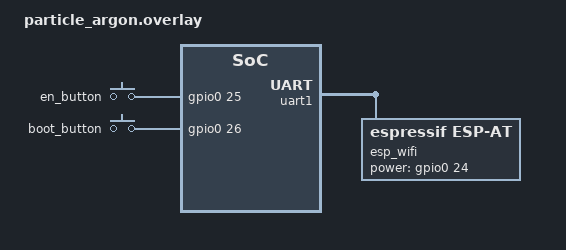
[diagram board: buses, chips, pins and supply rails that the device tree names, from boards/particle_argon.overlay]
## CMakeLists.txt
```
# SPDX-License-Identifier: Apache-2.0

cmake_minimum_required(VERSION 3.20.0)

find_package(Zephyr REQUIRED HINTS $ENV{ZEPHYR_BASE})
project(zephyr_flasher)

zephyr_compile_definitions_ifdef(CONFIG_SERIAL_FLASHER_MD5_ENABLED MD5_ENABLED)

zephyr_library_sources(
  common/example_common.c
  )

zephyr_library_include_directories(
  common
  binaries
  )

# Needed for example_common
add_compile_definitions(SERIAL_FLASHER_INTERFACE_UART)

# Embed binaries into the app.
include(${CMAKE_CURRENT_LIST_DIR}/common/bin2array.cmake)
create_resources(${CMAKE_CURRENT_LIST_DIR}/binaries/Hello-world ${CMAKE_BINARY_DIR}/binaries.c)
set_property(SOURCE ${CMAKE_BINARY_DIR}/binaries.c PROPERTY GENERATED 1)

target_sources(app PRIVATE src/main.c  ${CMAKE_BINARY_DIR}/binaries.c)

if(DEFINED SERIAL_FLASHER_DEBUG_TRACE OR CONFIG_SERIAL_FLASHER_DEBUG_TRACE)
    target_compile_definitions(esp_flasher INTERFACE SERIAL_FLASHER_DEBUG_TRACE=1)
 endif()
```

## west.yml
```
manifest:
  projects:
    - name: zephyr
      revision: v4.0.0
      url: https://github.com/zephyrproject-rtos/zephyr
      west-commands: scripts/west-commands.yml
      import:
        path-prefix: deps
        name-allowlist:
          - cmsis
          - hal_nordic
    - name: esp-flasher
      url: https://github.com/espressif/esp-serial-flasher
      revision: master
      path: deps/modules/lib/esp_flasher
  self:
    path: app
```

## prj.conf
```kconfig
CONFIG_CONSOLE=y
CONFIG_CONSOLE_GETCHAR=y
CONFIG_NEWLIB_LIBC=y
CONFIG_SERIAL_FLASHER_DEBUG_TRACE=y
```

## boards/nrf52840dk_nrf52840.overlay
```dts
/ {
	aliases {
		en = &en_pin;
		boot = &boot_pin;
		uart = &uart1;
	};

	leds {
		compatible = "gpio-leds";
		en_pin: en_pin {
			gpios = <&gpio0 24 GPIO_ACTIVE_HIGH>;
		};
		boot_pin: boot_pin {
			gpios = <&gpio0 16 GPIO_ACTIVE_HIGH>;
		};
	};
};

&pinctrl {
	uart1_example: uart1_example {
		group1 {
			psels = <NRF_PSEL(UART_TX, 1, 5)>,
							<NRF_PSEL(UART_RX, 1, 4)>;
		};
	};
};

&uart1 {
	status = "okay";
	pinctrl-0 = <&uart1_example>;
};
```

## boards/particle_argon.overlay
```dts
/ {
	aliases {
		en = &en_button;
		boot = &boot_button;
		uart = &uart1;
	};

  gpio_keys {
		compatible = "gpio-keys";
		en_button: en_button {
			gpios = <&gpio0 25 (GPIO_PULL_UP | GPIO_ACTIVE_HIGH)>;
		};
		boot_button: boot_button {
			gpios = <&gpio0 26 (GPIO_PULL_UP | GPIO_ACTIVE_HIGH)>;
		};
	};
};

&uart1_default {
	cts-rts {
		psels = <NRF_PSEL(UART_CTS, 1, 6)>,
			    <NRF_PSEL(UART_RTS, 1, 7)>;
	};
};

&uart1_sleep {
	cts-rts {
		psels = <NRF_PSEL(UART_CTS, 1, 6)>,
			    <NRF_PSEL(UART_RTS, 1, 7)>;
		low-power-enable;
	};
};

&uart1 {
	status = "okay";
	hw-flow-control;

	esp_wifi: esp-wifi {
		compatible = "espressif,esp-at";
		power-gpios = <&gpio0 24 (GPIO_ACTIVE_HIGH | GPIO_OPEN_DRAIN)>;
		status = "okay";
	};
};

&pinctrl {
    uart1_default: uart1_default {
		group1 {
			psels = <NRF_PSEL(UART_TX, 1, 5)>,
				    <NRF_PSEL(UART_RX, 1, 4)>;
		};
	};

	uart1_sleep: uart1_sleep {
		group1 {
			psels = <NRF_PSEL(UART_TX, 1, 5)>,
				    <NRF_PSEL(UART_RX, 1, 4)>;
			low-power-enable;
		};
	};
};
```

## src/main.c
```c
/*
 * ESP Flasher Library Example for Zephyr
 * Written in 2022 by KT-Elektronik, Klaucke und Partner GmbH
 * This example code is in the Public Domain (or CC0 licensed, at your option.)
 * Unless required by applicable law or agreed to in writing, this
 * software is distributed on an "AS IS" BASIS, WITHOUT WARRANTIES OR
 * CONDITIONS OF ANY KIND, either express or implied.
 *
 * Copyright (c) 2023 Espressif Systems (Shanghai) Co., Ltd.
 */

#include <zephyr/kernel.h>
#include <zephyr/device.h>
#include <zephyr/devicetree.h>
#include <zephyr/drivers/gpio.h>
#include <zephyr/sys/util.h>

#include <stdio.h>
#include <string.h>
#include <zephyr_port.h>
#include <esp_loader.h>
#include "example_common.h"

#define HIGHER_BAUDRATE 230400
#define DEFAULT_BAUDRATE 115200

/* Get UART DTS entry used as flash interface */
static const struct device *esp_uart_dev = DEVICE_DT_GET(DT_ALIAS(uart));
/* Get GPIO pin connected to the ESP's enable pin. */
static const struct gpio_dt_spec esp_enable_spec = GPIO_DT_SPEC_GET(DT_ALIAS(en), gpios);
/* Get GPIO pin  connected to the ESP's boot pin. */
static const struct gpio_dt_spec esp_boot_spec = GPIO_DT_SPEC_GET(DT_ALIAS(boot), gpios);

int main(void)
{
    example_binaries_t bin;

    const loader_zephyr_config_t config = {
        .uart_dev = esp_uart_dev,
        .enable_spec = esp_enable_spec,
        .boot_spec = esp_boot_spec
    };

    printk("Running ESP Flasher from Zephyr\r\n");

    if (!device_is_ready(esp_uart_dev)) {
        printk("ESP UART not ready");
        return -ENODEV;
    }

    if (!device_is_ready(esp_boot_spec.port)) {
        printk("ESP boot GPIO not ready");
        return -ENODEV;
    }

    if (!device_is_ready(esp_enable_spec.port)) {
        printk("ESP enable GPIO not ready");
        return -ENODEV;
    }

    gpio_pin_configure_dt(&esp_boot_spec, GPIO_OUTPUT_ACTIVE);
    gpio_pin_configure_dt(&esp_enable_spec, GPIO_OUTPUT_INACTIVE);

    if (loader_port_zephyr_init(&config) != ESP_LOADER_SUCCESS) {
        printk("ESP loader init failed");
        return -EIO;
    }

    if (connect_to_target(HIGHER_BAUDRATE) == ESP_LOADER_SUCCESS) {

        get_example_binaries(esp_loader_get_target(), &bin);

        flash_binary(bin.boot.data, bin.boot.size, bin.boot.addr);
        flash_binary(bin.part.data, bin.part.size, bin.part.addr);
        flash_binary(bin.app.data,  bin.app.size,  bin.app.addr);
    }

    esp_loader_reset_target();

    return 0;
}
```
